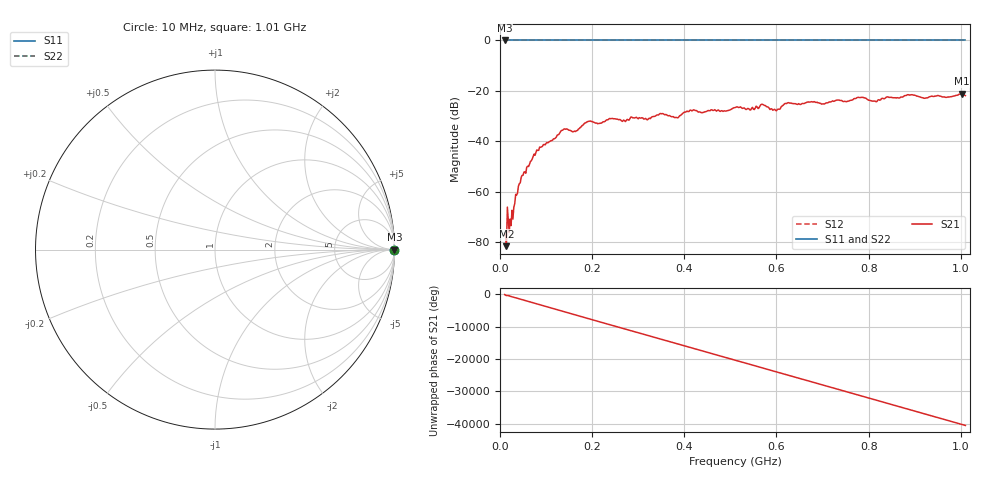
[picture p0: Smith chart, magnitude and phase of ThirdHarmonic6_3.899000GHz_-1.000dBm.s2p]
! 8/17/2025 1:42:44 PM
! C:\ANRITSUVNA\TEMP\TEMP.S2P
! CHANNEL.1
! TR.MEASUREMENT
! RAW.DATA
! RF.CORRECTION.OFF
! AVERAGING.OFF
! IF.BANDWIDTH: 5KHZ
! SWEEPTYPE:  FREQ.SWEEP(Linear)
! Reference Plane Port Info
! PORT:  PORT1  PORT2
! DISTANCE:  0  m  0  m
! TIME:  0  s  0  s
! PHASE.OFFSET:  0  deg.  0  deg.
! LOSS:  0  dB  0  dB
! REF.LOSS:  0  dB  0  dB
! REF.FREQ:  0  Hz  0  Hz
! Power Info
! POWER:  -20  dBm  -20  dBm
! EFF.POWER:  -20  dBm  -20  dBm
! SOURCE.ATTEN:  0  dB  0  dB
! TEST.ATTEN:  0  dB  0  dB
# GHZ S RI R 50.0
! FREQ.GHZ  S11RE  S11IM  S21RE  S21IM  S12RE  S12IM  S22RE  S22IM
!; PortSelection: Port_12
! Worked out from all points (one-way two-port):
!   501 points, 10 MHz to 1.01 GHz, reference 50 ohm
!   highest |S21| = -21.12 dB at 1.002 GHz (marker M1); lowest = -81.6 dB at 14 MHz (marker M2)
!   lowest |S11| = 0.0 dB at 10 MHz (marker M3)
!   |S11| at or under -10 dB: nowhere
!   |S22| runs from 0.0 to 0.0 dB; largest |S21 - S12| = 1.1
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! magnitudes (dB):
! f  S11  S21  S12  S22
! 10 MHz  0.0  -76.7  0.0  0.0
! 14 MHz  0.0  -81.6  0.0  0.0
! 24 MHz  0.0  -73.4  0.0  0.0
! 44 MHz  0.0  -56.4  0.0  0.0
! 76 MHz  0.0  -45.5  0.0  0.0
! 136 MHz  0.0  -35.6  0.0  0.0
! 162 MHz  0.0  -35.9  0.0  0.0
! 178 MHz  0.0  -33.8  0.0  0.0
! 194 MHz  0.0  -32.0  0.0  0.0
! 322 MHz  0.0  -31.1  0.0  0.0
! 344 MHz  0.0  -29.6  0.0  0.0
! 384 MHz  0.0  -30.6  0.0  0.0
! 416 MHz  0.0  -27.9  0.0  0.0
! 510 MHz  0.0  -26.6  0.0  0.0
! 570 MHz  0.0  -25.4  0.0  0.0
! 596 MHz  0.0  -27.3  0.0  0.0
! 622 MHz  0.0  -25.0  0.0  0.0
! 678 MHz  0.0  -24.4  0.0  0.0
! 814 MHz  0.0  -24.0  0.0  0.0
! 844 MHz  0.0  -22.6  0.0  0.0
! 1.002 GHz  0.0  -21.1  0.0  0.0
! 1.01 GHz  0.0  -21.9  0.0  0.0
